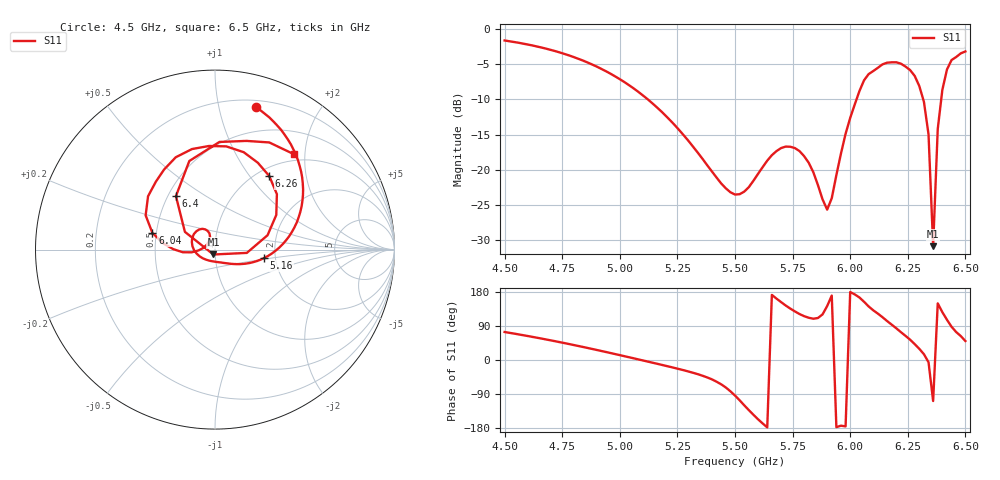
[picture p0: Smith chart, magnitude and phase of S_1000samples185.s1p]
! TOUCHSTONE file generated by CST MICROWAVE STUDIO
! Date and time: Thu Oct 27 07:19:43 2022
! Project name: L.cst
! Parameters = {Di=1.27; Epsilon_r=1.56; InnerDiameter=1.27; Length=2; Lf=10; Lg=60; OuterConductorThickness=0.2921; OuterDiameter=3.6; Wf=3; Wp=41.2; de=1.5; df=6.8; g=0.8; gx=2.48532; gy=3.015; h=2.34; hf=1.524; px=13.8468; py=10.9286; w=9.7; wx=11.3614; wy=7.91356}
! Header version: 2018
! Port assignment regex: !\s*Touchstone port\s*([0-9]+)\s*=\s*(CST MWS port|CST DS port)\s*([0-9]+|Zmin|Zmax)\s*\(\"(.*)\"\)(\s*mode\s*([0-9]+))?.*
! Touchstone port assignment:
! Touchstone port 1 = CST MWS port 1 ("")
# GHz S DB R 50
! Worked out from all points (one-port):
!   101 points, 4.5 GHz to 6.5 GHz, reference 50 ohm
!   lowest |S11| = -30.8 dB at 6.36 GHz (marker M1), VSWR 1.06, Z = 49 - j2.68 ohm
!   |S11| at or under -10 dB: 5.121 GHz to 6.028 GHz (906.6 MHz wide, 16.3 % of centre); 6.317 GHz to 6.395 GHz (78.36 MHz wide, 1.23 % of centre)
!   S11 on the Smith chart (normalised r, x): 4.5 GHz: 0.26, +1.30; 5.16 GHz: 1.74, -0.18; 6.04 GHz: 0.48, +0.10; 6.26 GHz: 1.13, +1.25; 6.4 GHz: 0.55, +0.38; 6.5 GHz: 0.88, +1.79
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4.5  -1.66 73.9
4.76  -3.57 44.6
5  -7.15 12.9
5.16  -11.12 -9.6
5.26  -14.45 -24.4
5.5  -23.52 -93.8
5.56  -22.46 -132.3
5.68  -17.35 162.0
5.76  -16.92 128.2
5.82  -19.01 111.5
5.9  -25.65 142.3
5.92  -24.03 170.0
6  -12.64 179.3
6.04  -8.84 165.0
6.08  -6.43 141.4
6.16  -4.81 102.9
6.2  -4.75 83.7
6.26  -5.86 53.6
6.28  -6.69 41.9
6.32  -10.35 15.3
6.34  -14.98 -5.9
6.36  -30.84 -108.3
6.38  -14.21 149.5
6.4  -8.66 126.2
6.42  -5.78 106.2
6.44  -4.43 87.6
6.48  -3.49 63.1
6.5  -3.22 50.1
